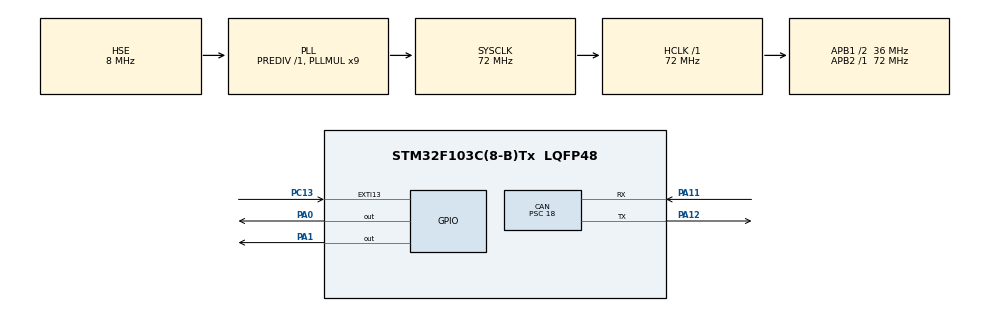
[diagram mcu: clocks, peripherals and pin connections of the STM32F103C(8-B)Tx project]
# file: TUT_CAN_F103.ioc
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CAN.BS1=CAN_BS1_2TQ
CAN.CalculateBaudRate=500000
CAN.CalculateTimeBit=2000
CAN.CalculateTimeQuantum=500.0
CAN.Prescaler=18
Mcu.Family=STM32F1
Mcu.Name=STM32F103C(8-B)Tx
Mcu.Package=LQFP48
NVIC.CAN1_RX1_IRQn=true\:0\:0\:false\:false\:true\:true\:true\:true
NVIC.EXTI15_10_IRQn=true\:0\:0\:false\:false\:true\:true\:true\:true
NVIC.PriorityGroup=NVIC_PRIORITYGROUP_4
PA0-WKUP.Signal=GPIO_Output
PA1.Signal=GPIO_Output
PA11.Mode=CAN_Activate
PA11.Signal=CAN_RX
PA12.Mode=CAN_Activate
PA12.Signal=CAN_TX
PA13.Mode=Serial_Wire
PA13.Signal=SYS_JTMS-SWDIO
PA14.Mode=Serial_Wire
PA14.Signal=SYS_JTCK-SWCLK
PC13-TAMPER-RTC.Signal=GPXTI13
PD0-OSC_IN.Mode=HSE-External-Oscillator
PD0-OSC_IN.Signal=RCC_OSC_IN
PD1-OSC_OUT.Mode=HSE-External-Oscillator
PD1-OSC_OUT.Signal=RCC_OSC_OUT
ProjectManager.HeapSize=0x200
ProjectManager.StackSize=0x400
ProjectManager.TargetToolchain=STM32CubeIDE
RCC.AHBFreq_Value=72000000
RCC.APB1CLKDivider=RCC_HCLK_DIV2
RCC.APB1Freq_Value=36000000
RCC.APB1TimFreq_Value=72000000
RCC.APB2Freq_Value=72000000
RCC.APB2TimFreq_Value=72000000
RCC.HCLKFreq_Value=72000000
RCC.PLLMUL=RCC_PLL_MUL9
RCC.PLLSourceVirtual=RCC_PLLSOURCE_HSE
RCC.SYSCLKFreq_VALUE=72000000
RCC.SYSCLKSource=RCC_SYSCLKSOURCE_PLLCLK
RCC.USBFreq_Value=72000000
board=custom

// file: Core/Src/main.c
/* USER CODE BEGIN Header */
/**
  ******************************************************************************
  * @file           : main.c
  * @brief          : Main program body
  ******************************************************************************
  * @attention
  *
  * <h2><center>&copy; Copyright (c) 2021 STMicroelectronics.
  * All rights reserved.</center></h2>
  *
  * This software component is licensed by ST under BSD 3-Clause license,
  * the "License"; You may not use this file except in compliance with the
  * License. You may obtain a copy of the License at:
  *                        opensource.org/licenses/BSD-3-Clause
  *
  ******************************************************************************
  */
/* USER CODE END Header */
#include "main.h"

CAN_HandleTypeDef hcan;

void SystemClock_Config(void);
static void MX_GPIO_Init(void);
static void MX_CAN_Init(void);

/* USER CODE BEGIN 0 */

CAN_TxHeaderTypeDef TxHeader;
CAN_RxHeaderTypeDef RxHeader;

uint8_t TxData[8] = {0x03,0x02,0x05,0x08,0x05,0x06,0x07,0x08};
uint8_t RxData[8];

uint32_t TxMailbox;

int datacheck = 0;

void HAL_GPIO_EXTI_Callback(uint16_t GPIO_Pin)
{
	if (GPIO_Pin == GPIO_PIN_13)
	{
		  TxHeader.DLC = 8;  // data length
		  TxHeader.IDE = CAN_ID_STD;
		  TxHeader.RTR = CAN_RTR_DATA;
		  TxHeader.StdId = 0x103;  // ID

		HAL_CAN_AddTxMessage(&hcan, &TxHeader, TxData, &TxMailbox);
		HAL_GPIO_TogglePin(GPIOA, GPIO_PIN_0);
	}
}

void HAL_CAN_RxFifo1MsgPendingCallback(CAN_HandleTypeDef *hcan)
{
	HAL_CAN_GetRxMessage(hcan, CAN_RX_FIFO1, &RxHeader, RxData);

	// Toggle the Led every time the Message Received by Interrupt Via CAN
	//if ( RxData[0] == 0x25 )   // done dlc & data & ID   test ----> all passed correctly
	//{
		  HAL_GPIO_TogglePin(GPIOA, GPIO_PIN_1);
		  //datacheck = 1;
	//}
}

/* USER CODE END 0 */

int main(void)
{

  /* MCU Configuration--------------------------------------------------------*/

  /* Reset of all peripherals, Initializes the Flash interface and the Systick. */
  HAL_Init();

  /* Configure the system clock */
  SystemClock_Config();

  /* Initialize all configured peripherals */
  MX_GPIO_Init();
  MX_CAN_Init();
  /* USER CODE BEGIN 2 */

  HAL_CAN_Start(&hcan);

  // Activate the notification
  HAL_CAN_ActivateNotification(&hcan, CAN_IT_RX_FIFO1_MSG_PENDING);

 // HAL_GPIO_WritePin(GPIOA, GPIO_PIN_0, GPIO_PIN_SET);

  /* USER CODE END 2 */

  /* Infinite loop */
  while (1)
  {

    /* USER CODE BEGIN 3 */

	  if ( datacheck  )
	  {
		  // blink the LED
	  	 // HAL_CAN_AddTxMessage(&hcan, &TxHeader, TxData, &TxMailbox);
		//  HAL_GPIO_WritePin(GPIOA, GPIO_PIN_1, GPIO_PIN_SET);
		  //datacheck = 0;
	  }

  }
  /* USER CODE END 3 */
}

void SystemClock_Config(void)
{
  RCC_OscInitTypeDef RCC_OscInitStruct = {0};
  RCC_ClkInitTypeDef RCC_ClkInitStruct = {0};

  /** Initializes the RCC Oscillators according to the specified parameters
  * in the RCC_OscInitTypeDef structure.
  */
  RCC_OscInitStruct.OscillatorType = RCC_OSCILLATORTYPE_HSE;
  RCC_OscInitStruct.HSEState = RCC_HSE_ON;
  RCC_OscInitStruct.HSEPredivValue = RCC_HSE_PREDIV_DIV1;
  RCC_OscInitStruct.HSIState = RCC_HSI_ON;
  RCC_OscInitStruct.PLL.PLLState = RCC_PLL_ON;
  RCC_OscInitStruct.PLL.PLLSource = RCC_PLLSOURCE_HSE;
  RCC_OscInitStruct.PLL.PLLMUL = RCC_PLL_MUL9;
  if (HAL_RCC_OscConfig(&RCC_OscInitStruct) != HAL_OK)
  {
    Error_Handler();
  }

  /** Initializes the CPU, AHB and APB buses clocks
  */
  RCC_ClkInitStruct.ClockType = RCC_CLOCKTYPE_HCLK|RCC_CLOCKTYPE_SYSCLK
                              |RCC_CLOCKTYPE_PCLK1|RCC_CLOCKTYPE_PCLK2;
  RCC_ClkInitStruct.SYSCLKSource = RCC_SYSCLKSOURCE_PLLCLK;
  RCC_ClkInitStruct.AHBCLKDivider = RCC_SYSCLK_DIV1;
  RCC_ClkInitStruct.APB1CLKDivider = RCC_HCLK_DIV2;
  RCC_ClkInitStruct.APB2CLKDivider = RCC_HCLK_DIV1;

  if (HAL_RCC_ClockConfig(&RCC_ClkInitStruct, FLASH_LATENCY_2) != HAL_OK)
  {
    Error_Handler();
  }
}

static void MX_CAN_Init(void)
{

  hcan.Instance = CAN1;
  hcan.Init.Prescaler = 18;
  hcan.Init.Mode = CAN_MODE_NORMAL;
  hcan.Init.SyncJumpWidth = CAN_SJW_1TQ;
  hcan.Init.TimeSeg1 = CAN_BS1_2TQ;
  hcan.Init.TimeSeg2 = CAN_BS2_1TQ;
  hcan.Init.TimeTriggeredMode = DISABLE;
  hcan.Init.AutoBusOff = DISABLE;
  hcan.Init.AutoWakeUp = DISABLE;
  hcan.Init.AutoRetransmission = DISABLE;
  hcan.Init.ReceiveFifoLocked = DISABLE;
  hcan.Init.TransmitFifoPriority = DISABLE;
  if (HAL_CAN_Init(&hcan) != HAL_OK)
  {
    Error_Handler();
  }
  /* USER CODE BEGIN CAN_Init 2 */

  CAN_FilterTypeDef canfilterconfig;

  canfilterconfig.FilterActivation = CAN_FILTER_ENABLE;
  canfilterconfig.FilterBank = 10;  // which filter bank to use from the assigned ones
  canfilterconfig.FilterFIFOAssignment = CAN_FILTER_FIFO1;
  canfilterconfig.FilterIdHigh = 0x446<<5;
  canfilterconfig.FilterIdLow = 0;
  canfilterconfig.FilterMaskIdHigh = 0x446<<5;
  canfilterconfig.FilterMaskIdLow = 0x0000;
  canfilterconfig.FilterMode = CAN_FILTERMODE_IDMASK;
  canfilterconfig.FilterScale = CAN_FILTERSCALE_32BIT;
  canfilterconfig.SlaveStartFilterBank = 0;  // doesn't matter in single can controllers

  HAL_CAN_ConfigFilter(&hcan, &canfilterconfig);

  /* USER CODE END CAN_Init 2 */

}

static void MX_GPIO_Init(void)
{
  GPIO_InitTypeDef GPIO_InitStruct = {0};

  /* GPIO Ports Clock Enable */
  __HAL_RCC_GPIOC_CLK_ENABLE();
  __HAL_RCC_GPIOD_CLK_ENABLE();
  __HAL_RCC_GPIOA_CLK_ENABLE();

  /*Configure GPIO pin Output Level */
  HAL_GPIO_WritePin(GPIOA, GPIO_PIN_0|GPIO_PIN_1, GPIO_PIN_RESET);

  /*Configure GPIO pin : PC13 */
  GPIO_InitStruct.Pin = GPIO_PIN_13;
  GPIO_InitStruct.Mode = GPIO_MODE_IT_RISING;
  GPIO_InitStruct.Pull = GPIO_NOPULL;
  HAL_GPIO_Init(GPIOC, &GPIO_InitStruct);

  /*Configure GPIO pins : PA0 PA1 */
  GPIO_InitStruct.Pin = GPIO_PIN_0|GPIO_PIN_1;
  GPIO_InitStruct.Mode = GPIO_MODE_OUTPUT_PP;
  GPIO_InitStruct.Pull = GPIO_NOPULL;
  GPIO_InitStruct.Speed = GPIO_SPEED_FREQ_LOW;
  HAL_GPIO_Init(GPIOA, &GPIO_InitStruct);

  /* EXTI interrupt init*/
  HAL_NVIC_SetPriority(EXTI15_10_IRQn, 0, 0);
  HAL_NVIC_EnableIRQ(EXTI15_10_IRQn);

}

void Error_Handler(void)
{
  __disable_irq();
  while (1)
  {
  }
}
